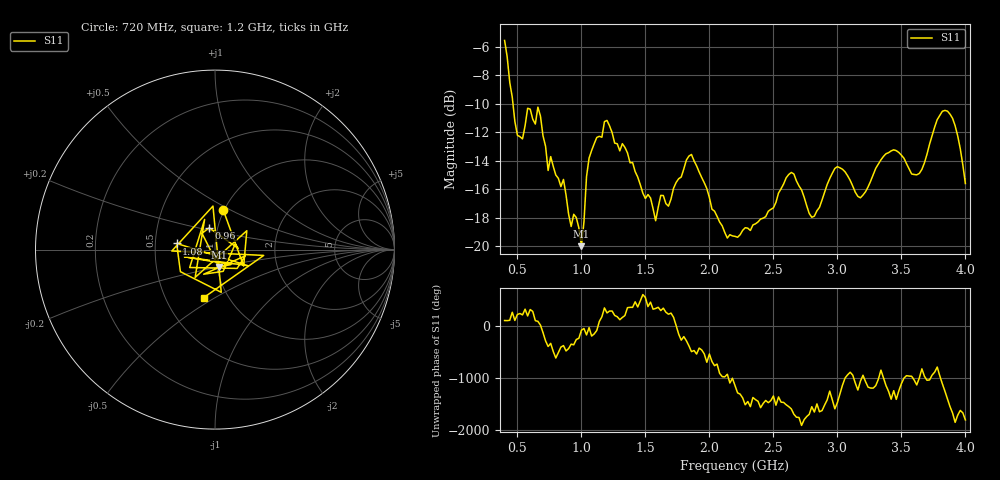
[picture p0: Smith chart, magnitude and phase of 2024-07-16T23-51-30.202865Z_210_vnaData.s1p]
!Created with skrf (http://scikit-rf.org).
# Hz S RI R 50.0
!freq ReS11 ImS11
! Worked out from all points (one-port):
!   181 points, 400 MHz to 4 GHz, reference 50 ohm
!   lowest |S11| = -20.0 dB at 1 GHz (marker M1), VSWR 1.22, Z = 51.3 - j10.1 ohm
!   |S11| at or under -10 dB: 465.2 MHz to end of sweep
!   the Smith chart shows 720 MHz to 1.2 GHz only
!   S11 on the Smith chart (normalised r, x): 720 MHz: 0.99, +0.46; 960 MHz: 0.91, +0.22; 1.08 GHz: 0.65, +0.05; 1.2 GHz: 0.77, -0.45
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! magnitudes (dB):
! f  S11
! 400 MHz  -5.6
! 500 MHz  -12.2
! 660 MHz  -10.2
! 720 MHz  -13.0
! 740 MHz  -14.7
! 860 MHz  -15.3
! 920 MHz  -18.6
! 960 MHz  -18.0
! 1 GHz  -20.0
! 1.04 GHz  -15.1
! 1.08 GHz  -13.3
! 1.2 GHz  -11.2
! 1.3 GHz  -13.3
! 1.58 GHz  -18.2
! 1.76 GHz  -15.3
! 1.86 GHz  -13.6
! 2.2 GHz  -19.3
! 2.66 GHz  -14.9
! 2.8 GHz  -18.0
! 2.98 GHz  -14.6
! 3.1 GHz  -15.4
! 3.18 GHz  -16.6
! 3.44 GHz  -13.2
! 3.56 GHz  -14.6
! 3.66 GHz  -14.6
! 3.84 GHz  -10.5
! 3.92 GHz  -11.6
! 4 GHz  -15.6
